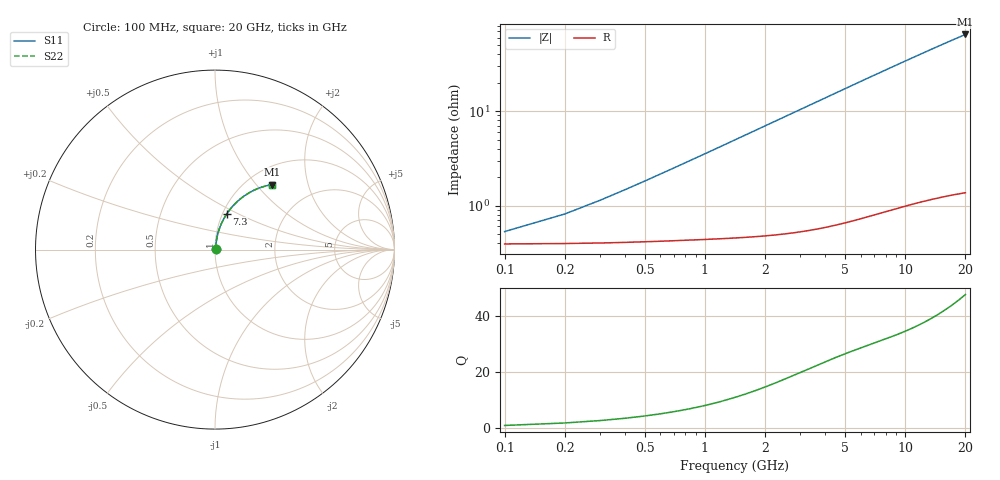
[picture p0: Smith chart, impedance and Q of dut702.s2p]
! Touchstone file exported from HFSS 2026.1.0
!  File:  C:/ffzhzh/LocalFiles/Ansys_Project_Files/temp_train_BSMRDL_702_1783168050_51560.aedt
!  Generated:  08:28:43 PM Jul  4, 2026
!  Design:  BSMRDL
!  Project:  temp_train_BSMRDL_702_1783168050_51560
! Variables:
!  h_bsmrdl = 4.34um
!  h_ox = 20um
!  h_rdl = 5um
!  h_sub = 80um
!  h_tmrdl = 5um
!  h_tsv = 80um
!  h_via = 3um
!  l_bsmrdl = 484.85um
!  l_sub = 884.85um
!  l_tmrdl = 200um
!  m_sub = 200um
!  pitch = 52.99um
!  r_tsv = 6um
!  s_tmrdl = 10um
!  w_bsmrdl = 10.23um
!  w_sub = 500um
!  w_tmrdl = 12um
!  x_tsv_center1 = 206um
!  x_tsv_center2 = 701.08um
!  x_tsv_center3 = 913.08um
!  x_tsv_center4 = 1408.16um
!  x_tsv_center5 = 1620.16um
!  x_tsv_center6 = 2115.24um
# GHz S MA R 50.000000
! Terminal data exported
! Port[1] = BSM_RDL1_1_T1
! Port[2] = BSM_RDL1_1_T2
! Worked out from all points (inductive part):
!   200 points, 100 MHz to 20 GHz, reference 50 ohm
!   read as one part in series: L = 562 pH near 400 MHz
!   highest Q = 47.6 at 20 GHz (marker M1), where L = 517 pH
!   S11 on the Smith chart (normalised r, x): 100 MHz: 1.01, +0.01; 7.3 GHz: 1.05, +0.44; 20 GHz: 1.29, +1.22
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0.1  0.004968 38.0  0.9961 -0.2  0.9961 -0.2  0.004968 38.0
! Gamma 0 0 0 0
! Port Impedance 50 0 50 0
0.2  0.007296 56.9  0.996 -0.5  0.996 -0.5  0.007296 56.9
0.3  0.01002 65.9  0.996 -0.7  0.996 -0.7  0.01002 65.9
0.4  0.01287 70.8  0.9959 -0.9  0.9959 -0.9  0.01287 70.8
0.5  0.01578 73.8  0.9958 -1.1  0.9958 -1.1  0.01578 73.8
0.6  0.01871 75.8  0.9957 -1.4  0.9957 -1.4  0.01871 75.8
0.8  0.02459 78.2  0.9955 -1.8  0.9955 -1.8  0.02459 78.2
1.1  0.03344 80.0  0.9951 -2.5  0.9951 -2.5  0.03344 80.0
1.5  0.04527 80.8  0.9945 -3.4  0.9945 -3.4  0.04527 80.8
1.8  0.05414 81.0  0.9939 -4.1  0.9939 -4.1  0.05414 81.0
2.1  0.06299 80.9  0.9933 -4.7  0.9933 -4.7  0.06299 80.9
2.7  0.08062 80.3  0.9917 -6.1  0.9917 -6.1  0.08062 80.3
3.5  0.1039 79.1  0.9891 -7.9  0.9891 -7.9  0.1039 79.1
4.2  0.124 77.9  0.9864 -9.4  0.9864 -9.4  0.124 77.9
5  0.1467 76.3  0.9828 -11.2  0.9828 -11.2  0.1467 76.3
6.8  0.1962 72.8  0.973 -15.0  0.973 -15.0  0.1962 72.8
7.3  0.2095 71.8  0.9699 -16.1  0.9699 -16.1  0.2095 71.8
8.6  0.2434 69.2  0.9613 -18.8  0.9613 -18.8  0.2434 69.2
10.1  0.2809 66.3  0.9504 -21.8  0.9504 -21.8  0.2809 66.2
13.4  0.3571 60.0  0.9234 -28.3  0.9234 -28.3  0.3571 60.0
16.7  0.4245 54.1  0.894 -34.3  0.894 -34.3  0.4245 54.1
20  0.4831 48.6  0.8637 -40.0  0.8637 -40.0  0.4831 48.6
